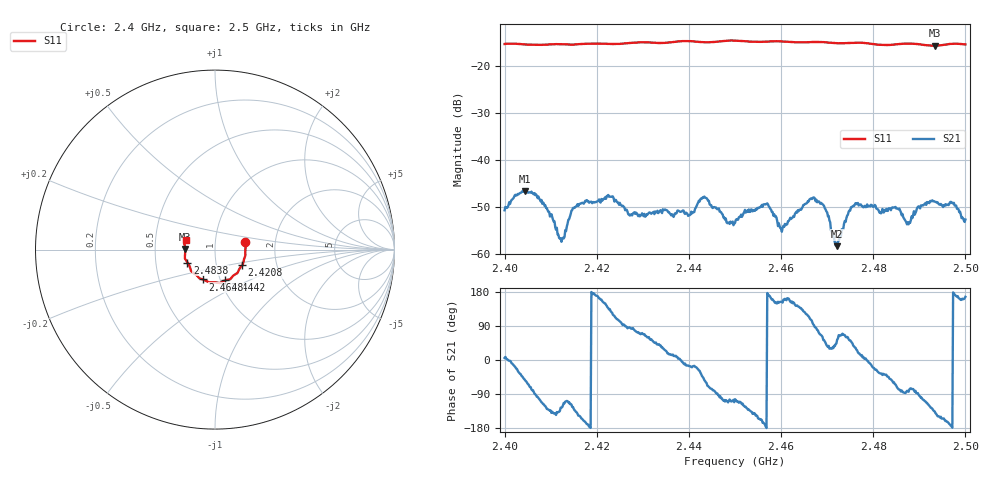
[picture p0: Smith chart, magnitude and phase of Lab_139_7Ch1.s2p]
# Hz S RI R 50
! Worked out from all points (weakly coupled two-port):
!   601 points, 2.4 GHz to 2.5 GHz, reference 50 ohm
!   highest |S21| = -46.58 dB at 2.4043 GHz (marker M1); lowest = -58.3 dB at 2.4722 GHz (marker M2)
!   lowest |S11| = -15.6 dB at 2.4933 GHz (marker M3), VSWR 1.40, Z = 35.8 + j0.0486 ohm
!   |S11| at or under -10 dB: start of sweep to end of sweep
!   S12 and S22 are empty: the file has one direction only
!   S11 on the Smith chart (normalised r, x): 2.4 GHz: 1.40, +0.12; 2.4208 GHz: 1.33, -0.24; 2.4442 GHz: 1.05, -0.37; 2.4648 GHz: 0.83, -0.28; 2.4838 GHz: 0.73, -0.11; 2.5 GHz: 0.72, +0.08
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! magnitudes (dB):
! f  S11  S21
! 2.4 GHz  -15.2  -50.7
! 2.4043 GHz  -15.3  -46.6
! 2.4085 GHz  -15.4  -49.2
! 2.4123 GHz  -15.3  -57.4
! 2.4167 GHz  -15.3  -49.2
! 2.4208 GHz  -15.2  -49.0
! 2.4333 GHz  -15.0  -51.3
! 2.4402 GHz  -14.6  -51.7
! 2.4442 GHz  -14.9  -48.6
! 2.45 GHz  -14.5  -53.3
! 2.4567 GHz  -14.7  -49.4
! 2.4602 GHz  -14.7  -55.2
! 2.4648 GHz  -14.9  -49.5
! 2.4667 GHz  -14.8  -48.3
! 2.4695 GHz  -14.9  -50.2
! 2.4722 GHz  -15.1  -58.3
! 2.476 GHz  -15.0  -49.5
! 2.4833 GHz  -15.5  -50.2
! 2.4838 GHz  -15.4  -50.6
! 2.4875 GHz  -15.2  -53.2
! 2.4933 GHz  -15.6  -48.8
! 2.5 GHz  -15.3  -52.6
